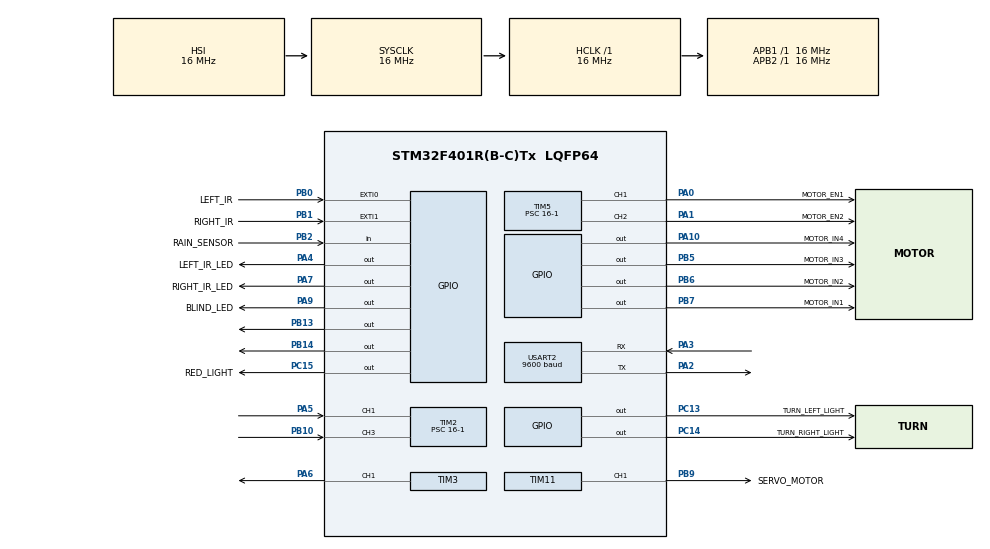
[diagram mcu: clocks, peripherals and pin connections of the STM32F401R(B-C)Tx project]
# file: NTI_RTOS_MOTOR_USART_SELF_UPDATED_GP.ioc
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FREERTOS.Queues01=motorQueue,16,motorControl_t,0,Dynamic,NULL,NULL
FREERTOS.Tasks01=motorTask,48,128,StartmotorTask,Default,NULL,Dynamic,NULL,NULL;ACCTask,40,128,StartACCTask,Default,NULL,Dynamic,NULL,NULL;NormalModeTask,41,128,StartNormalMode,Default,NULL,Dynamic,NULL,NULL;GUI_UpdateTask,24,128,StartGUI_UpdateTask,Default,NULL,Dynamic,NULL,NULL;SelfDrivingTask,39,128,StartSelfDrivingTask,Default,NULL,Dynamic,NULL,NULL;LDW_TASK,8,128,LaneDepartureWarning,Default,NULL,Dynamic,NULL,NULL;RainDetect_TASK,8,128,RainDetection,Default,NULL,Dynamic,NULL,NULL;LKA_TASK,8,128,LaneKeepAssist,Default,NULL,Dynamic,NULL,NULL;Blindspot,8,128,StartBlindspot,Default,NULL,Dynamic,NULL,NULL;RearLightsTask,8,128,StartRearLightsTask,Default,NULL,Dynamic,NULL,NULL
FREERTOS.configUSE_PREEMPTION=0
Mcu.Family=STM32F4
Mcu.Name=STM32F401R(B-C)Tx
Mcu.Package=LQFP64
NVIC.EXTI0_IRQn=true\:5\:0\:false\:false\:true\:true\:true\:true\:true
NVIC.EXTI1_IRQn=true\:5\:0\:false\:false\:true\:true\:true\:true\:true
NVIC.PriorityGroup=NVIC_PRIORITYGROUP_4
NVIC.TIM1_UP_TIM10_IRQn=true\:5\:0\:false\:false\:true\:false\:false\:true\:true
NVIC.TIM2_IRQn=true\:5\:0\:false\:false\:true\:true\:true\:true\:true
NVIC.TimeBase=TIM1_UP_TIM10_IRQn
NVIC.TimeBaseIP=TIM10
NVIC.USART2_IRQn=true\:5\:0\:false\:false\:true\:true\:true\:true\:true
PA0-WKUP.GPIO_Label=MOTOR_EN1
PA0-WKUP.Signal=S_TIM5_CH1
PA1.GPIO_Label=MOTOR_EN2
PA1.Signal=S_TIM5_CH2
PA10.GPIO_Label=MOTOR_IN4
PA10.Signal=GPIO_Output
PA13.Mode=Serial_Wire
PA13.Signal=SYS_JTMS-SWDIO
PA14.Mode=Serial_Wire
PA14.Signal=SYS_JTCK-SWCLK
PA2.Mode=Asynchronous
PA2.Signal=USART2_TX
PA3.Mode=Asynchronous
PA3.Signal=USART2_RX
PA4.GPIO_Label=LEFT_IR_LED
PA4.Signal=GPIO_Output
PA5.Signal=S_TIM2_CH1_ETR
PA6.Signal=S_TIM3_CH1
PA7.GPIO_Label=RIGHT_IR_LED
PA7.Signal=GPIO_Output
PA9.GPIO_Label=BLIND_LED
PA9.Signal=GPIO_Output
PB0.GPIO_Label=LEFT_IR
PB0.GPIO_ModeDefaultEXTI=GPIO_MODE_IT_RISING_FALLING
PB0.Signal=GPXTI0
PB1.GPIO_Label=RIGHT_IR
PB1.GPIO_ModeDefaultEXTI=GPIO_MODE_IT_RISING_FALLING
PB1.Signal=GPXTI1
PB10.Signal=S_TIM2_CH3
PB13.Signal=GPIO_Output
PB14.GPIO_Speed=GPIO_SPEED_FREQ_LOW
PB14.Signal=GPIO_Output
PB2.GPIO_Label=RAIN_SENSOR
PB2.Signal=GPIO_Input
PB5.GPIO_Label=MOTOR_IN3
PB5.Signal=GPIO_Output
PB6.GPIO_Label=MOTOR_IN2
PB6.Signal=GPIO_Output
PB7.GPIO_Label=MOTOR_IN1
PB7.Signal=GPIO_Output
PB9.GPIO_Label=SERVO_MOTOR
PB9.Signal=S_TIM11_CH1
PC13-ANTI_TAMP.GPIO_Label=TURN_LEFT_LIGHT
PC13-ANTI_TAMP.Signal=GPIO_Output
PC14-OSC32_IN.GPIO_Label=TURN_RIGHT_LIGHT
PC14-OSC32_IN.Signal=GPIO_Output
PC15-OSC32_OUT.GPIO_Label=RED_LIGHT
PC15-OSC32_OUT.Signal=GPIO_Output
ProjectManager.HeapSize=0x200
ProjectManager.StackSize=0x400
ProjectManager.TargetToolchain=STM32CubeIDE
RCC.AHBFreq_Value=16000000
RCC.APB1Freq_Value=16000000
RCC.APB2Freq_Value=16000000
RCC.CortexFreq_Value=16000000
RCC.HSE_VALUE=25000000
RCC.HSI_VALUE=16000000
RCC.LSE_VALUE=32768
RCC.SYSCLKFreq_VALUE=16000000
RCC.VCOOutputFreq_Value=192000000
SH.S_TIM11_CH1.0=TIM11_CH1,PWM Generation1 CH1
SH.S_TIM2_CH1_ETR.0=TIM2_CH1,Input_Capture1_from_TI1
SH.S_TIM2_CH3.0=TIM2_CH3,Input_Capture3_from_TI3
SH.S_TIM3_CH1.0=TIM3_CH1,PWM Generation1 CH1
SH.S_TIM5_CH1.0=TIM5_CH1,PWM Generation1 CH1
SH.S_TIM5_CH2.0=TIM5_CH2,PWM Generation2 CH2
TIM11.Channel=TIM_CHANNEL_1
TIM11.Period=20000-1
TIM11.Prescaler=16-1
TIM2.Channel-Input_Capture1_from_TI1=TIM_CHANNEL_1
TIM2.Channel-Input_Capture3_from_TI3=TIM_CHANNEL_3
TIM2.Period=0xffff
TIM2.Prescaler=16-1
TIM3.Channel-PWM\ Generation1\ CH1=TIM_CHANNEL_1
TIM3.Period=20000-1
TIM3.Prescaler=16-1
TIM5.Channel-PWM\ Generation1\ CH1=TIM_CHANNEL_1
TIM5.Channel-PWM\ Generation2\ CH2=TIM_CHANNEL_2
TIM5.CounterMode=TIM_COUNTERMODE_UP
TIM5.Period=20000-1
TIM5.Prescaler=16-1
USART2.BaudRate=9600
USART2.VirtualMode=VM_ASYNC
VP_FREERTOS_VS_CMSIS_V2.Mode=CMSIS_V2
VP_SYS_VS_tim10.Mode=TIM10
VP_TIM11_VS_ClockSourceINT.Mode=Enable_Timer
VP_TIM2_VS_ClockSourceINT.Mode=Internal
VP_TIM3_VS_ClockSourceINT.Mode=Internal
board=custom

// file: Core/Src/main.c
/* USER CODE BEGIN Header */
/**
 ******************************************************************************
 * @file           : main.c
 * @brief          : Main program body
 ******************************************************************************
 * @attention
 *
 * Copyright (c) 2023 STMicroelectronics.
 * All rights reserved.
 *
 * This software is licensed under terms that can be found in the LICENSE file
 * in the root directory of this software component.
 * If no LICENSE file comes with this software, it is provided AS-IS.
 *
 ******************************************************************************
 */
/* USER CODE END Header */
#include "main.h"
#include "cmsis_os.h"
#include "tim.h"
#include "usart.h"
#include "gpio.h"

/* USER CODE BEGIN Includes */
#include "../HCSR04/HCSR04.h"
#include "../SERVO/SERVO.h"
#include "../DCMotor/DCMotor.h"
#include <stdlib.h>
/* USER CODE END Includes */

/* USER CODE BEGIN PD */
#define HCSR04_SENSOR1  0

/* USER CODE END PD */

/* USER CODE BEGIN PV */
volatile uint8_t LeftIrCounter;
volatile uint8_t RightIrCounter;
volatile uint8_t LeftIrWarnCoutner;
volatile uint8_t RightIrWarnCoutner;
uint16_t Buffer_ASCII_TO_INT;
uint8_t Buffer[4];
uint8_t Car_Current_Mode      = CAR_DEFAULT_MODE  ;
uint8_t Car_Current_Direction = CAR_STOP          ;
uint8_t Car_Current_Status    = CAR_RUNNING       ;
uint8_t Car_Current_Speed     = CAR_DEFAULT_SPEED ;
uint8_t GUI_TRANSMIT_INSTANT  = GUI_NO_TRANSMIT   ;
uint8_t Car_LaneAssist_Enable = MODE_DISABLE	  ;
uint8_t Car_BlindSpot_Enable  = MODE_DISABLE	  ;
uint8_t GUI_Send_Speed        = CAR_DEFAULT_SPEED ;

uint8_t Buffer_GUI[GUI_ARRAY_SIZE] = {"0000000000000"};
/* USER CODE END PV */

void SystemClock_Config(void);
void MX_FREERTOS_Init(void);

int main(void)
{

	/* MCU Configuration--------------------------------------------------------*/

	/* Reset of all peripherals, Initializes the Flash interface and the Systick. */
	HAL_Init();

	/* Configure the system clock */
	SystemClock_Config();

	/* Initialize all configured peripherals */
	MX_GPIO_Init();
	MX_TIM5_Init();
	MX_TIM2_Init();
	MX_USART2_UART_Init();
	MX_TIM11_Init();
	MX_TIM3_Init();
	/* USER CODE BEGIN 2 */
	/* Initialize two Ultrasonic sensors */
	HCSR04_Init(HCSR04_SENSOR1, &htim2);
	HCSR04_Init(HCSR04_SENSOR2, &htim2);
	/* Initialize two Servo motors */
	SERVO_Init(SERVO_MOTOR1);
	SERVO_Init(SERVO_MOTOR2);
	/* Start PWM on Motor channels */
	HAL_TIM_PWM_Start(&htim5, TIM_CHANNEL_1);
	HAL_TIM_PWM_Start(&htim5, TIM_CHANNEL_2);
	/* Start PWM on Servo channel */
	HAL_TIM_PWM_Start(&htim3, TIM_CHANNEL_1);

	/* UART Receive */
	HAL_UART_Receive_IT(&huart2, (uint8_t*)Buffer, 4);

	/**********************************************/
	//  HAL_NVIC_DisableIRQ(EXTI0_IRQn);
	//HAL_NVIC_DisableIRQ(EXTI1_IRQn);
	/**********************************************/

	/* USER CODE END 2 */

	/* Init scheduler */
	osKernelInitialize();  /* Call init function for freertos objects (in freertos.c) */
	MX_FREERTOS_Init();

	/* Start scheduler */
	osKernelStart();
	/* We should never get here as control is now taken by the scheduler */
	/* Infinite loop */
	while (1)
	{

	}
}

void SystemClock_Config(void)
{
	RCC_OscInitTypeDef RCC_OscInitStruct = {0};
	RCC_ClkInitTypeDef RCC_ClkInitStruct = {0};

	/** Configure the main internal regulator output voltage
	 */
	__HAL_RCC_PWR_CLK_ENABLE();
	__HAL_PWR_VOLTAGESCALING_CONFIG(PWR_REGULATOR_VOLTAGE_SCALE2);

	/** Initializes the RCC Oscillators according to the specified parameters
	 * in the RCC_OscInitTypeDef structure.
	 */
	RCC_OscInitStruct.OscillatorType = RCC_OSCILLATORTYPE_HSI;
	RCC_OscInitStruct.HSIState = RCC_HSI_ON;
	RCC_OscInitStruct.HSICalibrationValue = RCC_HSICALIBRATION_DEFAULT;
	RCC_OscInitStruct.PLL.PLLState = RCC_PLL_NONE;
	if (HAL_RCC_OscConfig(&RCC_OscInitStruct) != HAL_OK)
	{
		Error_Handler();
	}

	/** Initializes the CPU, AHB and APB buses clocks
	 */
	RCC_ClkInitStruct.ClockType = RCC_CLOCKTYPE_HCLK|RCC_CLOCKTYPE_SYSCLK
			|RCC_CLOCKTYPE_PCLK1|RCC_CLOCKTYPE_PCLK2;
	RCC_ClkInitStruct.SYSCLKSource = RCC_SYSCLKSOURCE_HSI;
	RCC_ClkInitStruct.AHBCLKDivider = RCC_SYSCLK_DIV1;
	RCC_ClkInitStruct.APB1CLKDivider = RCC_HCLK_DIV1;
	RCC_ClkInitStruct.APB2CLKDivider = RCC_HCLK_DIV1;

	if (HAL_RCC_ClockConfig(&RCC_ClkInitStruct, FLASH_LATENCY_0) != HAL_OK)
	{
		Error_Handler();
	}
}

/* USER CODE BEGIN 4 */
void HAL_TIM_IC_CaptureCallback(TIM_HandleTypeDef *htim)
{
	/* Ultrasonic Input Capture Unit ISR handler*/
	HCSR04_TMR_IC_ISR(htim);
}

void HAL_UART_RxCpltCallback(UART_HandleTypeDef *huart)
{
	Buffer_ASCII_TO_INT = atoi((char*)Buffer);
	/* Set Vehicle mode (Normal, Adaptive Cruise Control or Self Driving Mode) */
	if((Buffer_ASCII_TO_INT == NORMAL_MODE)||(Buffer_ASCII_TO_INT == ACC_MODE) || (Buffer_ASCII_TO_INT == SELF_DRIVING_MODE))
	{
		Car_Current_Mode = Buffer_ASCII_TO_INT;
		Car_Current_Status = CAR_RUNNING ;

	}
	/* Set Vehicle direction (Forward, Backward, Leftwards or Rightwards) */
	else if((Buffer_ASCII_TO_INT == MOVE_FORWARD)||(Buffer_ASCII_TO_INT == MOVE_BACKWORD)||(Buffer_ASCII_TO_INT == MOVE_RIGHT)||(Buffer_ASCII_TO_INT == MOVE_LEFT))
	{
		Car_Current_Direction = Buffer_ASCII_TO_INT;
	}
	/* Set Vehicle mode (stop mode) */
	else if (Buffer_ASCII_TO_INT == STOP_MOTOR)
	{
		Car_Current_Speed  = CAR_STOP ;
		GUI_Send_Speed     = CAR_STOP ;
		Car_Current_Status = CAR_STOP ;
	}
	/* Set Lane Assist mode */
	else if (Buffer_ASCII_TO_INT == LANEASSIST_ON || Buffer_ASCII_TO_INT == LANEASSIST_OFF)
	{
		Car_LaneAssist_Enable = (Buffer_ASCII_TO_INT == LANEASSIST_ON);
	}
	/* Set Blindspot mode */
	else if (Buffer_ASCII_TO_INT == BLINDSPOT_ON || Buffer_ASCII_TO_INT == BLINDSPOT_OFF)
	{
		Car_BlindSpot_Enable = (Buffer_ASCII_TO_INT == BLINDSPOT_ON);
	}
	/* Set Vehicle speed */
	else
	{
		if(Car_Current_Speed != (Buffer_ASCII_TO_INT - CAR_SPEED_OFFSET))
		{
			Car_Current_Speed = Buffer_ASCII_TO_INT - CAR_SPEED_OFFSET ;
			GUI_Send_Speed    = Car_Current_Speed ;
			DCMotor_changeSpeed(Car_Current_Speed);
		}
		Car_Current_Status = CAR_RUNNING ;

	}
	GUI_TRANSMIT_INSTANT = GUI_TRANSMIT ;
}
/* EXTI interrupt callback */
void HAL_GPIO_EXTI_Callback(uint16_t GPIO_Pin)
{
	static Trigger TriggerState = FALLING;
	if (TriggerState == FALLING)
	{
		TriggerState = RISING;
		DCMotor_stop();
	}
	else
	{
		TriggerState = FALLING;
	}
	switch(GPIO_Pin)
	{
	case LEFT_IR_Pin:
		if(Car_Current_Mode == SELF_DRIVING_MODE)
		{
			LeftIrWarnCoutner++;
		}
		else
		{
			LeftIrCounter++;
		}

		break;
	case RIGHT_IR_Pin:
		if(Car_Current_Mode == SELF_DRIVING_MODE)
		{
			RightIrWarnCoutner++;
		}
		else
		{
			RightIrCounter++;
		}

		break;
	}
}

/* USER CODE END 4 */

void HAL_TIM_PeriodElapsedCallback(TIM_HandleTypeDef *htim)
{
	if (htim->Instance == TIM10) {
		HAL_IncTick();
	}
	/* USER CODE BEGIN Callback 1 */
	HCSR04_TMR_OVF_ISR(htim);
	/* USER CODE END Callback 1 */
}

void Error_Handler(void)
{
	__disable_irq();
	while (1)
	{
	}
}

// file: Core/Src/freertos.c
/* USER CODE BEGIN Header */
/**
 ******************************************************************************
 * File Name          : freertos.c
 * Description        : Code for freertos applications
 ******************************************************************************
 * @attention
 *
 * Copyright (c) 2023 STMicroelectronics.
 * All rights reserved.
 *
 * This software is licensed under terms that can be found in the LICENSE file
 * in the root directory of this software component.
 * If no LICENSE file comes with this software, it is provided AS-IS.
 *
 ******************************************************************************
 */
/* USER CODE END Header */

#include "FreeRTOS.h"
#include "task.h"
#include "main.h"
#include "cmsis_os.h"

/* USER CODE BEGIN Includes */
#include "../HCSR04/HCSR04.h"
#include "../DCMotor/DCMotor.h"
#include "../SERVO/SERVO.h"
#include "../Blindspot/blindspot_assist.h"
#include "tim.h"
/* USER CODE END Includes */

/* USER CODE BEGIN Variables */
extern uint8_t Buffer[4];
extern uint16_t Buffer_ASCII_TO_INT;
extern uint8_t Car_Current_Mode;
extern uint8_t Car_Current_Direction;
extern uint8_t Car_Current_Status;
extern uint8_t Car_Current_Speed;
extern uint8_t GUI_Send_Speed;

extern uint8_t Buffer_GUI[GUI_ARRAY_SIZE];
extern uint8_t GUI_TRANSMIT_INSTANT;
extern volatile uint8_t LeftIrCounter;
extern volatile uint8_t RightIrCounter;
extern uint8_t Car_LaneAssist_Enable;
extern uint8_t Car_BlindSpot_Enable;
extern volatile uint8_t LeftIrWarnCoutner;
extern volatile uint8_t RightIrWarnCoutner;

float Distance = 0.0;
float Distance_Right = 0.0;
float Distance_Left = 0.0;

uint8_t Red_Light_Flag = 0;
uint8_t Left_Light_Flag = 0;
uint8_t Right_Light_Flag = 0;

/* USER CODE END Variables */
/* Definitions for motorTask */
osThreadId_t motorTaskHandle;
const osThreadAttr_t motorTask_attributes = {
  .name = "motorTask",
  .stack_size = 128 * 4,
  .priority = (osPriority_t) osPriorityRealtime,
};
/* Definitions for ACCTask */
osThreadId_t ACCTaskHandle;
const osThreadAttr_t ACCTask_attributes = {
  .name = "ACCTask",
  .stack_size = 128 * 4,
  .priority = (osPriority_t) osPriorityHigh,
};
/* Definitions for NormalModeTask */
osThreadId_t NormalModeTaskHandle;
const osThreadAttr_t NormalModeTask_attributes = {
  .name = "NormalModeTask",
  .stack_size = 128 * 4,
  .priority = (osPriority_t) osPriorityHigh1,
};
/* Definitions for GUI_UpdateTask */
osThreadId_t GUI_UpdateTaskHandle;
const osThreadAttr_t GUI_UpdateTask_attributes = {
  .name = "GUI_UpdateTask",
  .stack_size = 128 * 4,
  .priority = (osPriority_t) osPriorityNormal,
};
/* Definitions for SelfDrivingTask */
osThreadId_t SelfDrivingTaskHandle;
const osThreadAttr_t SelfDrivingTask_attributes = {
  .name = "SelfDrivingTask",
  .stack_size = 128 * 4,
  .priority = (osPriority_t) osPriorityAboveNormal7,
};
/* Definitions for LDW_TASK */
osThreadId_t LDW_TASKHandle;
const osThreadAttr_t LDW_TASK_attributes = {
  .name = "LDW_TASK",
  .stack_size = 128 * 4,
  .priority = (osPriority_t) osPriorityLow,
};
/* Definitions for RainDetect_TASK */
osThreadId_t RainDetect_TASKHandle;
const osThreadAttr_t RainDetect_TASK_attributes = {
  .name = "RainDetect_TASK",
  .stack_size = 128 * 4,
  .priority = (osPriority_t) osPriorityLow,
};
/* Definitions for LKA_TASK */
osThreadId_t LKA_TASKHandle;
const osThreadAttr_t LKA_TASK_attributes = {
  .name = "LKA_TASK",
  .stack_size = 128 * 4,
  .priority = (osPriority_t) osPriorityLow,
};
/* Definitions for Blindspot */
osThreadId_t BlindspotHandle;
const osThreadAttr_t Blindspot_attributes = {
  .name = "Blindspot",
  .stack_size = 128 * 4,
  .priority = (osPriority_t) osPriorityLow,
};
/* Definitions for RearLightsTask */
osThreadId_t RearLightsTaskHandle;
const osThreadAttr_t RearLightsTask_attributes = {
  .name = "RearLightsTask",
  .stack_size = 128 * 4,
  .priority = (osPriority_t) osPriorityLow,
};
/* Definitions for motorQueue */
osMessageQueueId_t motorQueueHandle;
const osMessageQueueAttr_t motorQueue_attributes = {
  .name = "motorQueue"
};

/* USER CODE BEGIN FunctionPrototypes */
extern UART_HandleTypeDef huart2;
void SelfDrivingCheck_side(void);

/* USER CODE END FunctionPrototypes */

void StartmotorTask(void *argument);
void StartACCTask(void *argument);
void StartNormalMode(void *argument);
void StartGUI_UpdateTask(void *argument);
void StartSelfDrivingTask(void *argument);
void LaneDepartureWarning(void *argument);
void RainDetection(void *argument);
void LaneKeepAssist(void *argument);
void StartBlindspot(void *argument);
void StartRearLightsTask(void *argument);

void MX_FREERTOS_Init(void); /* (MISRA C 2004 rule 8.1) */

void MX_FREERTOS_Init(void) {

  /* Create the queue(s) */
  /* creation of motorQueue */
  motorQueueHandle = osMessageQueueNew (16, sizeof(motorControl_t), &motorQueue_attributes);

  /* Create the thread(s) */
  /* creation of motorTask */
  motorTaskHandle = osThreadNew(StartmotorTask, NULL, &motorTask_attributes);

  /* creation of ACCTask */
  ACCTaskHandle = osThreadNew(StartACCTask, NULL, &ACCTask_attributes);

  /* creation of NormalModeTask */
  NormalModeTaskHandle = osThreadNew(StartNormalMode, NULL, &NormalModeTask_attributes);

  /* creation of GUI_UpdateTask */
  GUI_UpdateTaskHandle = osThreadNew(StartGUI_UpdateTask, NULL, &GUI_UpdateTask_attributes);

  /* creation of SelfDrivingTask */
  SelfDrivingTaskHandle = osThreadNew(StartSelfDrivingTask, NULL, &SelfDrivingTask_attributes);

  /* creation of LDW_TASK */
  LDW_TASKHandle = osThreadNew(LaneDepartureWarning, NULL, &LDW_TASK_attributes);

  /* creation of RainDetect_TASK */
  RainDetect_TASKHandle = osThreadNew(RainDetection, NULL, &RainDetect_TASK_attributes);

  /* creation of LKA_TASK */
  LKA_TASKHandle = osThreadNew(LaneKeepAssist, NULL, &LKA_TASK_attributes);

  /* creation of Blindspot */
  BlindspotHandle = osThreadNew(StartBlindspot, NULL, &Blindspot_attributes);

  /* creation of RearLightsTask */
  RearLightsTaskHandle = osThreadNew(StartRearLightsTask, NULL, &RearLightsTask_attributes);

}

void StartmotorTask(void *argument)
{
  /* USER CODE BEGIN StartmotorTask */
	/* Infinite loop */
	for(;;)
	{
		motorControl_t motortask;
		uint8_t motortask_prio;
		/* Fetch motor command request from FreeRTOS queue */
		if(osMessageQueueGet(motorQueueHandle, &motortask, &motortask_prio, 10) == osOK)
		{
			/*if(motortask.motors[0].speed > 0 && motortask.motors[0].speed < 40)
		  {
			  Motor1_SetSpeed(70);
			  Motor2_SetSpeed(70);
			  HAL_Delay(5);
		  }*/
			/* Get previous speeds */
			double prev_speeds[2];
			Motors_GetSpeeds(&prev_speeds[0], &prev_speeds[1]);
			uint8_t flag = 0;
			for(uint8_t i = 0; i < 2; i++)
			{
				/* Raise flag to detect vehicle stop or speed reduction in order to trigger the rear red LEDs */
				if(motortask.motors[i].control == MOTOR_OFF)
				{
					flag = 1;
					break;
				}
				if((motortask.motors[i].modify & MOTOR_MODIFY_SPEED))
				{
					if(motortask.motors[i].speed < prev_speeds[i] || motortask.motors[i].speed == 0)
					{
						flag = 1;
						break;
					}
				}
			}
			if(flag) /* If the flag was raised, flag the red LEDs to get turned on by its own task */
			{
				Red_Light_Flag = 1;
			}
			else /* Otherwise, reset the flag */
			{
				Red_Light_Flag = 0;
			}
			/* If the vehicle is turning right or left, raise the turning indicator LED flag*/
			// LEFT
			if(motortask.motors[0].control == MOTOR_FWD && motortask.motors[1].control == MOTOR_REV)
			{
				Left_Light_Flag = 1;
				Right_Light_Flag = 0;
			}
			else
			// RIGHT
			if(motortask.motors[0].control == MOTOR_REV && motortask.motors[1].control == MOTOR_FWD)
			{
				Left_Light_Flag = 0;
				Right_Light_Flag = 1;
			}
			else // NEITHER
			{
				Left_Light_Flag = 0;
				Right_Light_Flag = 0;
			}
			/* Handle the DC Motor request by setting PWM duty cycle. */
			DCMotor_handleRequest(&motortask);
		}
		/* Send the task to BLOCKING state for 10 ticks (10 ms) */
		osDelay(10);
	}
  /* USER CODE END StartmotorTask */
}

void StartACCTask(void *argument)
{
  /* USER CODE BEGIN StartACCTask */
	static uint8_t TRIG_Ticks = 0;
	static double prev_distance;
	static double prev_distances[2];
	/* Infinite loop */
	for(;;)
	{
		if(Car_Current_Mode == ACC_MODE)
		{
			Distance = HCSR04_Read(HCSR04_SENSOR1);
			TRIG_Ticks++;
			if(TRIG_Ticks >= 5)
			{
				HCSR04_Trigger(HCSR04_SENSOR1);
				TRIG_Ticks = 0;
			}
			// ACC START

			if(Distance > ACC_DISTANCE_1)
			{
				DCMotor_moveForward(ACC_SPEED_1);
				GUI_Send_Speed = ACC_SPEED_1;
			}
			else if(Distance < ACC_DISTANCE_1 && Distance > ACC_DISTANCE_2)
			{
				DCMotor_moveForward(ACC_SPEED_2);
				GUI_Send_Speed = ACC_SPEED_2;
			}
			else if(Distance < ACC_DISTANCE_2 && Distance > ACC_DISTANCE_3)
			{
				DCMotor_moveForward(ACC_SPEED_3);
				GUI_Send_Speed = ACC_SPEED_3;
			}
			else if(Distance < ACC_DISTANCE_3 && Distance > ACC_DISTANCE_4)
			{
				DCMotor_moveForward(ACC_SPEED_4);
				GUI_Send_Speed = ACC_SPEED_4;
			}
			else if(Distance < ACC_DISTANCE_4 && Distance > ACC_DISTANCE_5)
			{
				DCMotor_moveForward(ACC_SPEED_5);
				GUI_Send_Speed = ACC_SPEED_5;
			}
			else if(Distance < ACC_DISTANCE_5)
			{
				DCMotor_stop();
				GUI_Send_Speed = CAR_STOP;
			}
			GUI_TRANSMIT_INSTANT =  GUI_TRANSMIT ;

			prev_distance = Distance;
			prev_distances[1] = prev_distances[0];
			prev_distances[0] = Distance;
			// ACC END
		}
		osDelay(50);
	}
  /* USER CODE END StartACCTask */
}

void StartNormalMode(void *argument)
{
  /* USER CODE BEGIN StartNormalMode */
	/* Infinite loop */
	for(;;)
	{
		if((Car_Current_Mode == NORMAL_MODE) && ( (Car_LaneAssist_Enable==0) || ((LeftIrCounter == 0) && (RightIrCounter == 0))))
		{
			if(Car_Current_Status == CAR_RUNNING)
			{
				switch (Car_Current_Direction)
				{
				case MOVE_FORWARD:
					DCMotor_moveForward(Car_Current_Speed);
					break;

				case MOVE_BACKWORD:
					DCMotor_moveBackward(Car_Current_Speed);
					break;
				case MOVE_RIGHT:
					DCMotor_moveRight(Car_Current_Speed);
					osDelay(100);
					DCMotor_moveForward(Car_Current_Speed);
					Car_Current_Direction = MOVE_FORWARD;
					break;
				case MOVE_LEFT:
					DCMotor_moveLeft(Car_Current_Speed);
					osDelay(100);
					DCMotor_moveForward(Car_Current_Speed);
					Car_Current_Direction = MOVE_FORWARD;
					break;
				default:
					break;
				}
			}
			else if (Car_Current_Status == CAR_STOP)
			{
				DCMotor_stop();
			}
			else
			{
				// RETURN ERROR //
			}
		}
		osDelay(10);
	}
  /* USER CODE END StartNormalMode */
}

void StartGUI_UpdateTask(void *argument)
{
  /* USER CODE BEGIN StartGUI_UpdateTask */
	/* Infinite loop */
	for(;;)
	{
		switch(Car_Current_Mode)
		{
		case NORMAL_MODE:
			Buffer_GUI[MODE_DIG_1_IDx] = CHARACTER_ZERO;
			Buffer_GUI[MODE_DIG_2_IDx] = CHARACTER_ZERO;
			break;
		case ACC_MODE:
			Buffer_GUI[MODE_DIG_1_IDx] = CHARACTER_ZERO;
			Buffer_GUI[MODE_DIG_2_IDx] = CHARACTER_ONE;
			break;
		case SELF_DRIVING_MODE:
			Buffer_GUI[MODE_DIG_1_IDx] = CHARACTER_ONE;
			Buffer_GUI[MODE_DIG_2_IDx] = CHARACTER_ZERO;
			break;
		}

		Buffer_GUI[SPEED_DIG_1_IDx] = ((GUI_Send_Speed  * 2) / 100) + CHARACTER_ZERO;
		Buffer_GUI[SPEED_DIG_2_IDx] = (((GUI_Send_Speed * 2) / 10) % 10) + CHARACTER_ZERO;
		Buffer_GUI[SPEED_DIG_3_IDx] = ((GUI_Send_Speed  * 2) % 10) + CHARACTER_ZERO;

		if(GUI_TRANSMIT_INSTANT == GUI_TRANSMIT )
		{
			HAL_UART_Transmit(&huart2, Buffer_GUI, 14, 20);
			GUI_TRANSMIT_INSTANT = GUI_NO_TRANSMIT ;
		}
		osDelay(100);
	}
  /* USER CODE END StartGUI_UpdateTask */
}

/* USER CODE BEGIN Header_StartSelfDrivingTask */
/**
 * @brief Function implementing the SelfDrivingTask thread.
 * @param argument: Not used
 * @\ None
 */
/* USER CODE END Header_StartSelfDrivingTask */
void StartSelfDrivingTask(void *argument)
{
  /* USER CODE BEGIN StartSelfDrivingTask */

	static uint8_t TRIG_Ticks = 0;
	//static uint8_t mode_first_called = 0;
	//	Car_Current_Speed = 55;
	SERVO_MoveTo(SERVO_MOTOR1,SERVO_ANGLE_CENTER);
	/* Infinite loop */
	for(;;)
	{
		if(Car_Current_Mode == SELF_DRIVING_MODE)
		{
			// Distance = HCSR04_Read(HCSR04_SENSOR1);
			HCSR04_Trigger(HCSR04_SENSOR1);
			osDelay(100);
			Distance = HCSR04_Read(HCSR04_SENSOR1);

			if (Distance <= SELF_DRIVING_CRITICAL_RANGE)
			{

				DCMotor_stop();

				GUI_Send_Speed = CAR_STOP ;
				GUI_TRANSMIT_INSTANT = GUI_TRANSMIT ;
				osDelay(500);
				DCMotor_moveBackward(Car_self_Speed);
				GUI_Send_Speed = Car_self_Speed ;
				GUI_TRANSMIT_INSTANT =  GUI_TRANSMIT ;
				osDelay(500); /* 500 */
				DCMotor_stop();
				GUI_Send_Speed = CAR_STOP ;
				GUI_TRANSMIT_INSTANT =  GUI_TRANSMIT ;
				osDelay(500); /* 15 */
				/* Servo turn to Right (120) then read distance*/
				SERVO_MoveTo(SERVO_MOTOR1,SERVO_ANGLE_RIGHT);
				osDelay(500);
				HCSR04_Trigger(HCSR04_SENSOR1);
				osDelay(500);
				Distance_Right = HCSR04_Read(HCSR04_SENSOR1);
				SERVO_MoveTo(SERVO_MOTOR1,SERVO_ANGLE_CENTER);
				osDelay(500);
				/* Servo turn to Left (60) then read distance*/
				SERVO_MoveTo(SERVO_MOTOR1,SERVO_ANGLE_LEFT);
				osDelay(500);
				HCSR04_Trigger(HCSR04_SENSOR1);
				osDelay(500);
				Distance_Left = HCSR04_Read(HCSR04_SENSOR1);
				/* Servo turn to origin (115) then read distance*/
				SERVO_MoveTo(SERVO_MOTOR1,SERVO_ANGLE_CENTER);

				if(Distance_Left >= Distance_Right)

				{

					DCMotor_moveLeft(Car_self_Speed);
					GUI_Send_Speed = Car_self_Speed;
					GUI_TRANSMIT_INSTANT =  GUI_TRANSMIT ;

					osDelay(600);

					DCMotor_stop();
					GUI_Send_Speed = CAR_STOP;
					GUI_TRANSMIT_INSTANT =  GUI_TRANSMIT ;

					osDelay(1400);

					DCMotor_moveForward(Car_self_Speed);
					GUI_Send_Speed = Car_self_Speed;
					GUI_TRANSMIT_INSTANT =  GUI_TRANSMIT ;

					osDelay(700);
					DCMotor_stop();
					GUI_Send_Speed = CAR_STOP;
					GUI_TRANSMIT_INSTANT =  GUI_TRANSMIT ;

					osDelay(1200);
					DCMotor_moveRight(Car_self_Speed);
					GUI_Send_Speed = Car_self_Speed;
					GUI_TRANSMIT_INSTANT =  GUI_TRANSMIT ;

					osDelay(600);
					DCMotor_stop();
					GUI_Send_Speed = CAR_STOP;
					GUI_TRANSMIT_INSTANT =  GUI_TRANSMIT ;
					osDelay(1200);

					GUI_Send_Speed = Car_Current_Speed;

					/* DCMotor_moveLeft(Car_self_Speed);
					osDelay(600);
					DCMotor_stop();
					osDelay(1200);
					DCMotor_moveForward(Car_self_Speed);
					osDelay(800);
					DCMotor_stop();
					osDelay(1200);
					DCMotor_moveRight(Car_self_Speed);
					osDelay(600);
					DCMotor_stop();
					osDelay(1200);
					DCMotor_moveForward(Car_self_Speed); // parralle  to origin
					osDelay(1000);
					DCMotor_stop();
					osDelay(1200);
					DCMotor_moveRight(Car_self_Speed);
					osDelay(400);
					DCMotor_stop();
					osDelay(1200);
					DCMotor_moveForward(Car_self_Speed);
					osDelay(800);
					DCMotor_stop();
					osDelay(600);
					for(uint8_t i=0;i<10;i++)
					{
						DCMotor_moveLeft(Car_self_Speed);
						osDelay(50);
						DCMotor_moveForward(Car_self_Speed);
						osDelay(5);
					} */
				}
				else if (Distance_Right >= Distance_Left)
				{
					DCMotor_moveRight(Car_self_Speed);
					GUI_Send_Speed = Car_self_Speed;
					GUI_TRANSMIT_INSTANT =  GUI_TRANSMIT ;

					osDelay(600);
					DCMotor_stop();
					GUI_Send_Speed = CAR_STOP;
					GUI_TRANSMIT_INSTANT =  GUI_TRANSMIT ;

					osDelay(1400);
					DCMotor_moveForward(Car_self_Speed);
					GUI_Send_Speed = Car_self_Speed;
					GUI_TRANSMIT_INSTANT =  GUI_TRANSMIT ;

					osDelay(700);
					DCMotor_stop();
					GUI_Send_Speed = CAR_STOP;
					GUI_TRANSMIT_INSTANT =  GUI_TRANSMIT ;
					osDelay(1200);
					DCMotor_moveLeft(Car_self_Speed);
					GUI_Send_Speed = Car_self_Speed;
					GUI_TRANSMIT_INSTANT =  GUI_TRANSMIT ;
					osDelay(600);
					DCMotor_stop();
					GUI_Send_Speed = CAR_STOP;
					GUI_TRANSMIT_INSTANT =  GUI_TRANSMIT ;
					osDelay(1200);

					GUI_Send_Speed = Car_Current_Speed;

				/*	DCMotor_moveForward(Car_self_Speed); // Moving Parrallel to origin

					osDelay(1000);
					DCMotor_moveLeft(Car_self_Speed);
					osDelay(600);
					DCMotor_moveForward(Car_self_Speed);
					osDelay(600);
					DCMotor_stop();
					osDelay(2000);
					DCMotor_moveRight(Car_self_Speed);
					osDelay(600);
					DCMotor_stop();
					osDelay(2000);

					*/

				}

			}

			else
			{
				DCMotor_moveForward(Car_Current_Speed);  // Just keeping forward if there is no obstacles in front of the car
			}
		}
		osDelay(100);
	}

//		static uint8_t TRIG_Ticks = 0;
//		/* Infinite loop */
//		for(;;)
//		{
//			if(Car_Current_Mode == SELF_DRIVING_MODE)
//			{
//				Distance = HCSR04_Read(HCSR04_SENSOR1);
//				/*if(Distance == prev_distances[0] && Distance == prev_distances[1])
//			  	  {
//			  		  Distance = 9999.0;
//			  	  }*/
//				TRIG_Ticks++;
//				if(TRIG_Ticks >= 1)
//				{
//					HCSR04_Trigger(HCSR04_SENSOR1);
//					TRIG_Ticks = 0;
//				}
//				if (Distance <= SELF_DRIVING_CRITICAL_RANGE)
//				{
//					uint8_t last_speed = Car_Current_Speed;
//					const uint8_t turn_speed = 80;
//					SelfDrivingCheck_side(); /* Check both sides - Left and Right - to get a decision for diversion */
//					if(Distance_Left > Distance_Right)
//					{
//						/*DCMotor_moveLeft(turn_speed);
//						osDelay(500);
//						DCMotor_moveForward(last_speed);
//						osDelay(600);
//						DCMotor_stop();
//						osDelay(100);
//						DCMotor_moveRight(turn_speed);
//						osDelay(500);
//						DCMotor_moveForward(last_speed);
//						osDelay(600);
//						DCMotor_stop();
//						osDelay(100);
//						DCMotor_moveRight(turn_speed);
//						osDelay(400);
//						DCMotor_moveForward(last_speed);
//						osDelay(500);
//						DCMotor_moveLeft(turn_speed);
//						osDelay(400);
//						DCMotor_moveForward(last_speed);*/
//						DCMotor_moveLeft(turn_speed);
//						osDelay(10);
//						uint32_t tick = 0;
//						while(1)
//						{
//							HCSR04_Trigger(HCSR04_SENSOR1);
//							osDelay(50);
//							double d = HCSR04_Read(HCSR04_SENSOR1);
//							tick++;
//							if(d >= Distance_Left)
//								break;
//						}
//						DCMotor_stop();
//						SERVO_MoveTo(SERVO_MOTOR1, SERVO_ANGLE_RIGHT);
//						osDelay(100);
//						DCMotor_moveForward(last_speed);
//						osDelay(10);
//						while(1)
//						{
//							HCSR04_Trigger(HCSR04_SENSOR1);
//							osDelay(50);
//							double d = HCSR04_Read(HCSR04_SENSOR1);
//							if(d >= SELF_DRIVING_CRITICAL_RANGE)
//								break;
//						}
//						DCMotor_stop();
//						SERVO_MoveTo(SERVO_MOTOR1, SERVO_ANGLE_CENTER);
//						osDelay(100);
//
//						DCMotor_moveRight(turn_speed);   // SHOULD BE TURN RIGHT :: Last State : Left
//						osDelay(10);
//						while(--tick)
//						{
//							osDelay(50);
//						}
//						DCMotor_stop();
//						osDelay(100);
//						DCMotor_moveForward(last_speed);
//						osDelay(10);
//					}
//					else
//					{
//						/*DCMotor_moveRight(turn_speed);
//						osDelay(500);
//						DCMotor_moveForward(last_speed);
//						osDelay(600);
//						DCMotor_stop();
//						osDelay(100);
//						DCMotor_moveLeft(turn_speed);
//						osDelay(500);
//						DCMotor_moveForward(last_speed);
//						osDelay(600);
//						DCMotor_stop();
//						osDelay(100);
//						DCMotor_moveLeft(turn_speed);
//						osDelay(400);
//						DCMotor_moveForward(last_speed);
//						osDelay(500);
//						DCMotor_moveRight(turn_speed);
//						osDelay(400);
//						DCMotor_moveForward(last_speed);*/
//						DCMotor_moveRight(turn_speed);
//						osDelay(10);
//						uint32_t tick = 0;
//						while(1)
//						{
//							HCSR04_Trigger(HCSR04_SENSOR1);
//							osDelay(50);
//							double d = HCSR04_Read(HCSR04_SENSOR1);
//							tick++;
//							if(d >= Distance_Right)
//								break;
//						}
//						DCMotor_stop();
//						SERVO_MoveTo(SERVO_MOTOR1, SERVO_ANGLE_LEFT);
//						osDelay(100);
//						DCMotor_moveForward(last_speed);
//						osDelay(10);
//						while(1)
//						{
//							HCSR04_Trigger(HCSR04_SENSOR1);
//							osDelay(50);
//							double d = HCSR04_Read(HCSR04_SENSOR1);
//							if(d >= SELF_DRIVING_CRITICAL_RANGE)
//								break;
//						}
//						DCMotor_stop();
//						SERVO_MoveTo(SERVO_MOTOR1, SERVO_ANGLE_CENTER);
//						osDelay(100);
//
//						DCMotor_moveLeft(turn_speed);    // Should be Left  :: Last State : Right
//						osDelay(10);
//						while(--tick)
//						{
//							osDelay(50);
//						}
//						DCMotor_stop();
//						osDelay(100);
//						DCMotor_moveForward(last_speed);
//						osDelay(10);
//					}
//
//				}
//
//				else
//				{
//					DCMotor_moveForward(Car_Current_Speed);  //Just keeping forward if there is no obstacles in front of the car
//				}
//			}
//			osDelay(30);
//		}
  /* USER CODE END StartSelfDrivingTask */
}

void LaneDepartureWarning(void *argument)
{
  /* USER CODE BEGIN LaneDepartureWarning */
	/* Infinite loop */
	for(;;)
	{
		if(LeftIrWarnCoutner>LDW_THIRD_DETECTION)
		{
			LeftIrWarnCoutner=LDW_NO_DETECTION;
		}
		if(RightIrWarnCoutner>LDW_THIRD_DETECTION)
		{
			RightIrWarnCoutner=LDW_NO_DETECTION;
		}

		if(LeftIrWarnCoutner == LDW_FIRST_DETECTION && RightIrCounter == LDW_NO_DETECTION)
		{
			// Activate left lane warning
			HAL_GPIO_WritePin(LEFT_IR_LED_GPIO_Port,LEFT_IR_LED_Pin,1);
			Buffer_GUI[LANE_DIG_1_IDx] = CHARACTER_ONE;
			Buffer_GUI[LANE_DIG_2_IDx] = CHARACTER_ZERO;
			GUI_TRANSMIT_INSTANT = GUI_TRANSMIT ;
			osDelay(150);
		}
		else if(LeftIrWarnCoutner == LDW_THIRD_DETECTION )
		{
			// Deactivate left lane warning
			LeftIrWarnCoutner = LDW_NO_DETECTION;
			RightIrWarnCoutner = LDW_NO_DETECTION;
			HAL_GPIO_WritePin(LEFT_IR_LED_GPIO_Port,LEFT_IR_LED_Pin,0);
			Buffer_GUI[LANE_DIG_1_IDx] = CHARACTER_ZERO;
			GUI_TRANSMIT_INSTANT = GUI_TRANSMIT ;

			osDelay(150);
		}
		else if(RightIrWarnCoutner == LDW_FIRST_DETECTION && LeftIrWarnCoutner == LDW_NO_DETECTION)
		{
			// Activate right lane warning
			HAL_GPIO_WritePin(RIGHT_IR_LED_GPIO_Port,RIGHT_IR_LED_Pin,1);
			Buffer_GUI[LANE_DIG_1_IDx] = CHARACTER_ZERO;
			Buffer_GUI[LANE_DIG_2_IDx] = CHARACTER_ONE;
			GUI_TRANSMIT_INSTANT = GUI_TRANSMIT ;

			osDelay(150);
		}
		else if(RightIrCounter == LDW_THIRD_DETECTION)
		{
			// Deactivate right lane warning
			LeftIrWarnCoutner = LDW_NO_DETECTION;
			RightIrWarnCoutner = LDW_NO_DETECTION;
			HAL_GPIO_WritePin(RIGHT_IR_LED_GPIO_Port,RIGHT_IR_LED_Pin,0);
			Buffer_GUI[LANE_DIG_2_IDx] = CHARACTER_ZERO;
			GUI_TRANSMIT_INSTANT = GUI_TRANSMIT ;

			osDelay(150);
		}

		else if((RightIrWarnCoutner == LDW_FIRST_DETECTION && LeftIrWarnCoutner == LDW_FIRST_DETECTION))
		{
			LeftIrWarnCoutner = LDW_NO_DETECTION;
			RightIrWarnCoutner = LDW_NO_DETECTION;
			HAL_GPIO_WritePin(LEFT_IR_LED_GPIO_Port,LEFT_IR_LED_Pin,0);
			HAL_GPIO_WritePin(RIGHT_IR_LED_GPIO_Port,RIGHT_IR_LED_Pin,0);
			Buffer_GUI[LANE_DIG_1_IDx] = CHARACTER_ZERO;
			Buffer_GUI[LANE_DIG_2_IDx] = CHARACTER_ZERO;
			GUI_TRANSMIT_INSTANT = GUI_TRANSMIT ;

			osDelay(150);
		}
		else
		{
			// No lane departure warning
			osDelay(50);
		}
	}
  /* USER CODE END LaneDepartureWarning */
}

void RainDetection(void *argument)
{
  /* USER CODE BEGIN RainDetection */
	/* Infinite loop */
	/* Infinite loop */
	uint8_t RainDetectFlag = 0;
	/* Infinite loop */
	for(;;)
	{
		if(HAL_GPIO_ReadPin(RAIN_SENSOR_GPIO_Port, RAIN_SENSOR_Pin)==1)
		{
			Buffer_GUI[RAIN_DIG_1_IDx] = CHARACTER_ONE;
			GUI_TRANSMIT_INSTANT = GUI_TRANSMIT ;

			if(RainDetectFlag==0)
			{
				SERVO_MoveTo(SERVO_MOTOR2,SERVO_ANGLE_FULL_LEFT);
				RainDetectFlag=1;
			}
			else if(RainDetectFlag==1)
			{
				SERVO_MoveTo(SERVO_MOTOR2,SERVO_ANGLE_FULL_RIGHT);
				RainDetectFlag=0;

			}
		}
		else
		{
			//HAL_GPIO_WritePin(RAIN_LED_GPIO_Port, RAIN_LED_Pin, 0);
			Buffer_GUI[RAIN_DIG_1_IDx] = CHARACTER_ZERO;
			GUI_TRANSMIT_INSTANT = GUI_TRANSMIT ;

		}
		osDelay(500);
	}
  /* USER CODE END RainDetection */
}

void LaneKeepAssist(void *argument)
{
  /* USER CODE BEGIN LaneKeepAssist */
	//	static uint8_t laneKeepFlag = 0;
	//	uint8_t i = 0;
		/* Infinite loop */
		for(;;)
		{
			//		osDelay(1000); continue; // Temp disable
			if(!Car_LaneAssist_Enable)
			{
				osDelay(1000);
				continue;
			}
			if(LeftIrCounter > 0)
			{
				while(LeftIrCounter != 2)
				{
					DCMotor_moveRight(70);
					osDelay(300); /* Check */
					//DCMotor_moveForward(Car_Current_Speed); /* Check */
					//osDelay(100);
//					DCMotor_stop();
//					osDelay(1000); /* To be modified */

				}

				LeftIrCounter = 0;

			}

			else if(RightIrCounter > 0)
			{
				while(RightIrCounter != 2)
				{
					DCMotor_moveLeft(70);
					osDelay(300);
					//DCMotor_moveForward(Car_Current_Speed);
					//osDelay(100);
//					DCMotor_stop();
//					osDelay(1000); /* To be modified */

				}

				RightIrCounter = 0;
			}

	//		if(laneKeepFlag == 1 && RightIrCounter == 0 && LeftIrCounter == 0)
	//		{
	//			laneKeepFlag = 0;
	//			DCMotor_moveLeft(70);
	//			osDelay(100);
	//			DCMotor_moveForward(70);
	//			osDelay(100);
	//		}
			osDelay(100);
		}
  /* USER CODE END LaneKeepAssist */
}

void StartBlindspot(void *argument)
{
  /* USER CODE BEGIN StartBlindspot */
	/* Infinite loop */
	for(;;)
	{
		if(!Car_BlindSpot_Enable)
		{
			osDelay(1000);
			continue;
		}
//		osDelay(1000); continue;
		static uint8_t TRIG_Ticks = 0;
//		if(!Car_BlindSpot_Enable)
//		{
//					osDelay(1000);
//					osThreadYield();
//					continue;
//		}
		TRIG_Ticks++;
		if(TRIG_Ticks >= 1)
		{
			HCSR04_Trigger(HCSR04_SENSOR2);
			TRIG_Ticks = 0;
			osDelay(50);
		}
		uint8_t blind_check = blindspot_isObjectDetected();
		if(blind_check == 1)
		{
			// Toggle warning LED
			HAL_GPIO_WritePin(BLIND_LED_GPIO_Port, BLIND_LED_Pin, 1);

			Buffer_GUI[B_SPOT_DIG1_IDx] = CHARACTER_ZERO;
			Buffer_GUI[B_SPOT_DIG2_IDx] = CHARACTER_ONE;
			GUI_TRANSMIT_INSTANT = GUI_TRANSMIT ;

			osDelay(1000);
		}
		else
		{
			HAL_GPIO_WritePin(BLIND_LED_GPIO_Port, BLIND_LED_Pin, 0);
			Buffer_GUI[B_SPOT_DIG1_IDx] = Buffer_GUI[B_SPOT_DIG2_IDx] = CHARACTER_ZERO;
			osDelay(100);
		}
	}
  /* USER CODE END StartBlindspot */
}

void StartRearLightsTask(void *argument)
{
  /* USER CODE BEGIN StartRearLightsTask */
  /* Infinite loop */
  for(;;)
  {
	  HAL_GPIO_WritePin(RED_LIGHT_GPIO_Port, RED_LIGHT_Pin, Red_Light_Flag);
	  if(Left_Light_Flag)
	  {
		  for(uint8_t t = 0; t < 16; t++) {
		  HAL_GPIO_TogglePin(TURN_LEFT_LIGHT_GPIO_Port, TURN_LEFT_LIGHT_Pin);
		  osDelay(100);
		  }
	  }
	  else
	  if(Right_Light_Flag)
	  {
		  for(uint8_t t = 0; t < 16; t++) {
		  HAL_GPIO_TogglePin(TURN_RIGHT_LIGHT_GPIO_Port, TURN_RIGHT_LIGHT_Pin);
		  osDelay(100);
		  }
	  }
	  else
	  {
		  HAL_GPIO_WritePin(TURN_LEFT_LIGHT_GPIO_Port, TURN_LEFT_LIGHT_Pin, 0);
		  HAL_GPIO_WritePin(TURN_RIGHT_LIGHT_GPIO_Port, TURN_RIGHT_LIGHT_Pin, 0);
	  }
    osDelay(100);
  }
  /* USER CODE END StartRearLightsTask */
}
